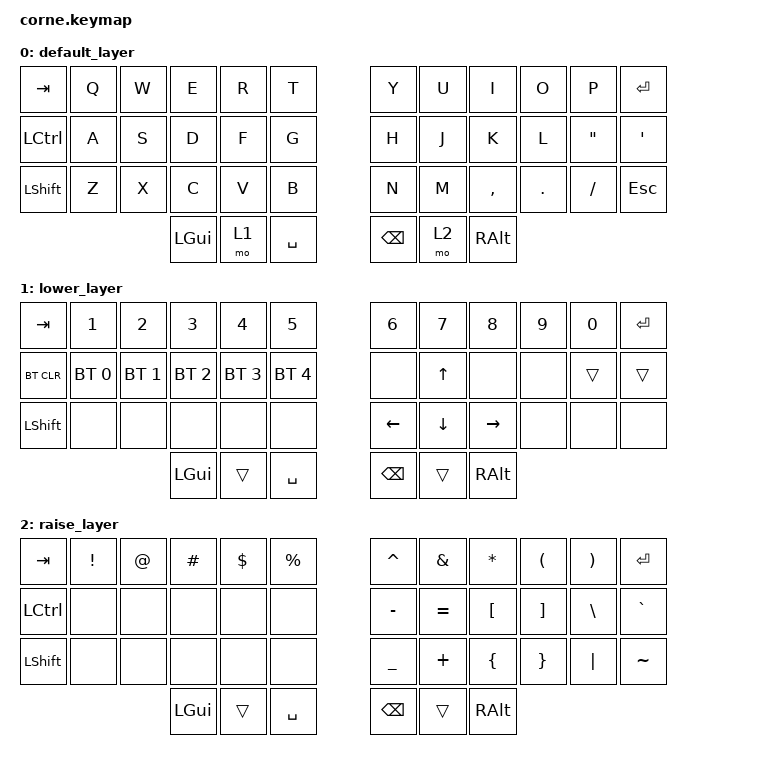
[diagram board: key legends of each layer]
/*
 * Copyright (c) 2020 The ZMK Contributors
 *
 * SPDX-License-Identifier: MIT
 */

#include <behaviors.dtsi>
#include <dt-bindings/zmk/keys.h>
#include <dt-bindings/zmk/bt.h>

/ {
        keymap {
                compatible = "zmk,keymap";

                default_layer {
// -----------------------------------------------------------------------------------------
// |  TAB |  Q  |  W  |  E  |  R  |  T  |   |  Y  |  U   |  I  |  O  |  P  | ENT  |
// | CTRL |  A  |  S  |  D  |  F  |  G  |   |  H  |  J   |  K  |  L  |  "  |  '   |
// | SHFT |  Z  |  X  |  C  |  V  |  B  |   |  N  |  M   |  ,  |  .  |  /  | ESC  |
//                    | GUI | LWR | SPC |   |BSPC | RSE | ALT |
                        bindings = <
   &kp TAB   &kp Q &kp W &kp E &kp R &kp T   &kp Y &kp U  &kp I     &kp O   &kp P    &kp RET
   &kp LCTRL &kp A &kp S &kp D &kp F &kp G   &kp H &kp J  &kp K     &kp L   &kp DQT  &kp SQT
   &kp LSHFT &kp Z &kp X &kp C &kp V &kp B   &kp N &kp M  &kp COMMA &kp DOT &kp FSLH &kp ESC
                  &kp LGUI &mo 1 &kp SPACE   &kp BSPC &mo 2 &kp RALT
                        >;
                };

                lower_layer {
// -----------------------------------------------------------------------------------------
// |  TAB |  1  |  2  |  3  |  4  |  5  |   |  6  |  7  |  8  |  9  |  0  | ENT  |
// | BTCLR| BT1 | BT2 | BT3 | BT4 | BT5 |   |     |  UP |     |     |     |      |
// | SHFT |     |     |     |     |     |   | LFT | DWN | RGT |     |     |      |
//                    | GUI |     | SPC |   |BSPC |     | ALT |
                        bindings = <
   &kp TAB    &kp N1       &kp N2       &kp N3       &kp N4       &kp N5         &kp N6   &kp N7   &kp N8 &kp N9    &kp N0 &kp RET
   &bt BT_CLR &bt BT_SEL 0 &bt BT_SEL 1 &bt BT_SEL 2 &bt BT_SEL 3 &bt BT_SEL 4   &none    &kp UP   &none     &none  &trans &trans
   &kp LSHFT  &none        &none        &none        &none        &none          &kp LEFT &kp DOWN &kp RIGHT &none  &none  &none
                                    &kp LGUI     &trans       &kp SPACE      &kp BSPC  &trans   &kp RALT
                        >;
                };

                raise_layer {
// -----------------------------------------------------------------------------------------
// |  TAB |  !  |  @  |  #  |  $  |  %  |   |  ^  |  &  |  *  |  (  |  )  | ENT  |
// | CTRL |     |     |     |     |     |   |  -  |  =  |  [  |  ]  |  \  |  `   |
// | SHFT |     |     |     |     |     |   |  _  |  +  |  {  |  }  | "|" |  ~   |
//                    | GUI |     | SPC |   |BSPC |     | ALT |
                        bindings = <
   &kp TAB   &kp EXCL &kp AT &kp HASH &kp DLLR &kp PRCNT   &kp CARET &kp AMPS  &kp ASTRK &kp LPAR &kp RPAR &kp RET
   &kp LCTRL &none    &none  &none    &none    &none       &kp MINUS &kp EQUAL &kp LBKT  &kp RBKT &kp BSLH &kp GRAVE
   &kp LSHFT &none    &none  &none    &none    &none       &kp UNDER &kp PLUS  &kp LBRC  &kp RBRC &kp PIPE &kp TILDE
                             &kp LGUI &trans   &kp SPACE   &kp BSPC   &trans    &kp RALT
                        >;
                };
        };
};
